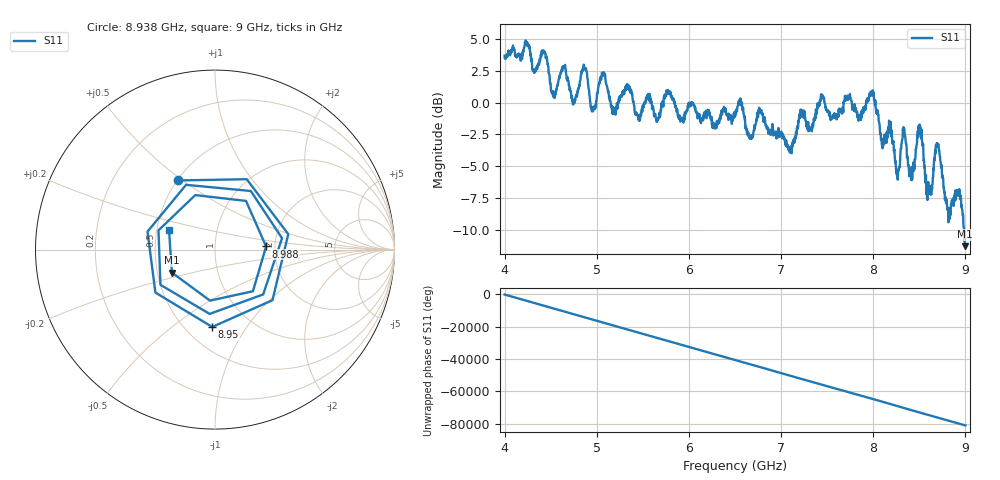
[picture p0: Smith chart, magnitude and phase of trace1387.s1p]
! Created with skrf 1.8.0 (http://scikit-rf.org).
# Hz S RI R 50.0
!freq ReS11 ImS11
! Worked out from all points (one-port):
!   1601 points, 4 GHz to 9 GHz, reference 50 ohm
!   lowest |S11| = -11.3 dB at 8.997 GHz (marker M1), VSWR 1.75, Z = 29.8 - j8.21 ohm
!   |S11| at or under -10 dB: 8.984561 GHz to end of sweep
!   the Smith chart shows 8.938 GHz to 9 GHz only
!   S11 on the Smith chart (normalised r, x): 8.938 GHz: 0.51, +0.48; 8.95 GHz: 0.67, -0.71; 8.988 GHz: 1.79, +0.07; 9 GHz: 0.58, +0.13
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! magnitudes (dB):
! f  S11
! 4 GHz  3.7
! 4.428 GHz  4.1
! 4.528 GHz  0.5
! 4.625 GHz  2.5
! 4.747 GHz  0.0
! 4.866 GHz  2.8
! 4.959 GHz  -0.7
! 5.066 GHz  2.3
! 5.25 GHz  0.2
! 5.875 GHz  -0.7
! 6.5 GHz  -1.1
! 7.125 GHz  -3.1
! 7.219 GHz  -0.7
! 7.75 GHz  0.4
! 7.988 GHz  0.9
! 8.262 GHz  -5.7
! 8.331 GHz  -2.3
! 8.375 GHz  -4.4
! 8.422 GHz  -6.1
! 8.503 GHz  -1.7
! 8.6 GHz  -6.9
! 8.694 GHz  -3.2
! 8.812 GHz  -8.3
! 8.938 GHz  -7.2
! 8.95 GHz  -7.3
! 8.988 GHz  -10.9
! 8.997 GHz  -11.3
! 9 GHz  -11.1
